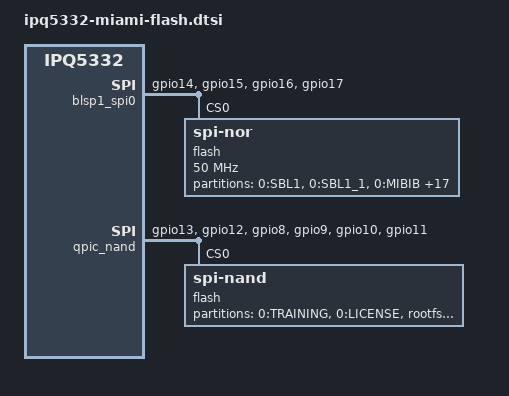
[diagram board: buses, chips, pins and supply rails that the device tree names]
// SPDX-License-Identifier: (GPL-2.0-only OR BSD-2-Clause)
/*
 * Cambium Miami flash, every partition read-only.
 *
 * Fixed partitions from the X7-35X MIBIB table (v4): flash 0 is the SPI NOR
 * (64 KiB units), flash 1 the QPIC SPI NAND (128 KiB units). Linux reads
 * calibration, MAC addresses and the OEM Wi-Fi files but cannot modify the
 * OEM banks, bootloaders or environment; UBI attaches a read-only MTD in
 * read-only mode. The NAND firmware banks keep the OEM names rootfs and
 * rootfs_1, which the OEM U-Boot passes as ubi.mtd=. The persistent trees
 * unlock only their own bank(s) and 0:APPSBLENV.
 */

&tlmm {
	miami_spi0_pins: miami-spi0-state {
		data-clk-pins {
			pins = "gpio14", "gpio15", "gpio16";
			function = "blsp0_spi";
			drive-strength = <2>;
			bias-pull-down;
		};
		cs-pins {
			pins = "gpio17";
			function = "blsp0_spi";
			drive-strength = <2>;
			bias-pull-up;
		};
	};

	miami_qspi_nand_pins: miami-qspi-nand-state {
		clock-pins {
			pins = "gpio13";
			function = "qspi_clk";
			drive-strength = <8>;
			bias-pull-down;
		};
		cs-pins {
			pins = "gpio12";
			function = "qspi_cs";
			drive-strength = <8>;
			bias-pull-up;
		};
		data-pins {
			pins = "gpio8", "gpio9", "gpio10", "gpio11";
			function = "qspi_data";
			drive-strength = <8>;
			bias-pull-down;
		};
	};
};

&blsp1_spi0 {
	pinctrl-0 = <&miami_spi0_pins>;
	pinctrl-names = "default";
	status = "okay";

	flash@0 {
		/* MX25U6435F, 8 MiB */
		compatible = "jedec,spi-nor";
		reg = <0>;
		spi-max-frequency = <50000000>;

		partitions {
			compatible = "fixed-partitions";
			#address-cells = <1>;
			#size-cells = <1>;

			partition@0 { label = "0:SBL1"; reg = <0x000000 0x080000>; read-only; };
			partition@80000 { label = "0:SBL1_1"; reg = <0x080000 0x080000>; read-only; };
			partition@100000 { label = "0:MIBIB"; reg = <0x100000 0x010000>; read-only; };
			partition@110000 { label = "0:BOOTCONFIG"; reg = <0x110000 0x010000>; read-only; };
			partition@120000 { label = "0:BOOTCONFIG1"; reg = <0x120000 0x010000>; read-only; };
			partition@130000 { label = "0:APPSBL"; reg = <0x130000 0x0a0000>; read-only; };
			partition@1d0000 { label = "0:DEVCFG"; reg = <0x1d0000 0x010000>; read-only; };
			partition@1e0000 { label = "0:DEVCFG_1"; reg = <0x1e0000 0x010000>; read-only; };
			partition@1f0000 { label = "0:TME"; reg = <0x1f0000 0x020000>; read-only; };
			partition@210000 { label = "0:TME_1"; reg = <0x210000 0x020000>; read-only; };
			partition@230000 { label = "config"; reg = <0x230000 0x010000>; read-only; };
			partition@240000 { label = "0:CDT"; reg = <0x240000 0x010000>; read-only; };
			miami_appsblenv: partition@250000 { label = "0:APPSBLENV"; reg = <0x250000 0x010000>; read-only; };
			partition@260000 { label = "0:APPSBL_1"; reg = <0x260000 0x0a0000>; read-only; };
			partition@300000 { label = "0:ART"; reg = <0x300000 0x100000>; read-only; };
			partition@400000 { label = "mfginfo"; reg = <0x400000 0x010000>; read-only; };
			partition@410000 { label = "0:QSEE"; reg = <0x410000 0x170000>; read-only; };
			partition@580000 { label = "0:QSEE_1"; reg = <0x580000 0x170000>; read-only; };
			partition@6f0000 { label = "0:CDT_1"; reg = <0x6f0000 0x010000>; read-only; };
			partition@700000 { label = "0:EXTRADATA"; reg = <0x700000 0x080000>; read-only; };
		};
	};
};

&{/soc@0} {
	qpic_bam: dma-controller@7984000 {
		compatible = "qcom,bam-v1.7.0";
		reg = <0x07984000 0x1c000>;
		interrupts = <GIC_SPI 66 IRQ_TYPE_LEVEL_HIGH>;
		clocks = <&gcc GCC_QPIC_AHB_CLK>;
		clock-names = "bam_clk";
		#dma-cells = <1>;
		qcom,ee = <0>;
	};

	qpic_nand: spi@79b0000 {
		compatible = "qcom,ipq9574-snand";
		reg = <0x079b0000 0x10000>;
		#address-cells = <1>;
		#size-cells = <0>;
		clocks = <&gcc GCC_QPIC_CLK>,
			 <&gcc GCC_QPIC_AHB_CLK>,
			 <&gcc GCC_QPIC_IO_MACRO_CLK>;
		clock-names = "core", "aon", "iom";
		dmas = <&qpic_bam 0>, <&qpic_bam 1>, <&qpic_bam 2>;
		dma-names = "tx", "rx", "cmd";
		pinctrl-0 = <&miami_qspi_nand_pins>;
		pinctrl-names = "default";

		flash@0 {
			/* MX35UF2GE4AD, 256 MiB: 8-bit/512-byte BCH, as U-Boot writes it. */
			compatible = "spi-nand";
			reg = <0>;
			#address-cells = <1>;
			#size-cells = <1>;
			nand-ecc-engine = <&qpic_nand>;
			nand-ecc-strength = <8>;
			nand-ecc-step-size = <512>;

			partitions {
				compatible = "fixed-partitions";
				#address-cells = <1>;
				#size-cells = <1>;

				partition@0 { label = "0:TRAINING"; reg = <0x0000000 0x0080000>; read-only; };
				partition@80000 { label = "0:LICENSE"; reg = <0x0080000 0x0040000>; read-only; };
				miami_rootfs: partition@c0000 { label = "rootfs"; reg = <0x00c0000 0x6000000>; read-only; };
				miami_rootfs_1: partition@60c0000 { label = "rootfs_1"; reg = <0x60c0000 0x6000000>; read-only; };
				partition@c0c0000 { label = "0:NVRAM"; reg = <0xc0c0000 0x2f40000>; read-only; };
				partition@f000000 { label = "crashLog"; reg = <0xf000000 0x1000000>; read-only; };
			};
		};
	};
};
